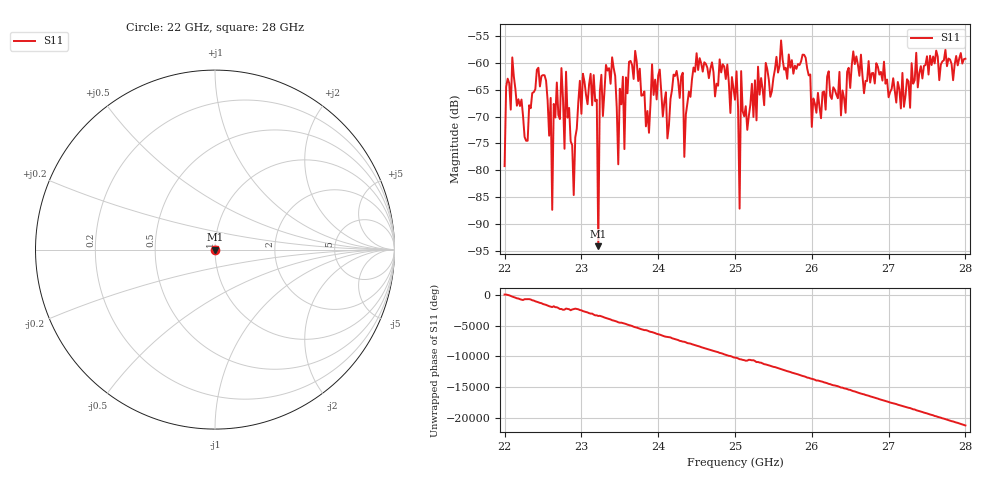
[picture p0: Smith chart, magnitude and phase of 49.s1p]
#  HZ  S  RI  R  50.00
! Rohde & Schwarz ZVA40 4Ports - Version 3.90 - 1145.1110k42 SN: 100403
! Date: 2023-10-04 11:26:36
! Measurement: S12
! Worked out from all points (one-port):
!   301 points, 22 GHz to 28 GHz, reference 50 ohm
!   lowest |S11| = -94.1 dB at 23.22 GHz (marker M1), VSWR 1.00, Z = 50 + j0.00112 ohm
!   |S11| at or under -10 dB: start of sweep to end of sweep
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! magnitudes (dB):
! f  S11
! 22 GHz  -79.2
! 22.1 GHz  -59.0
! 22.28 GHz  -74.5
! 22.52 GHz  -62.3
! 22.62 GHz  -87.3
! 22.76 GHz  -66.6
! 22.9 GHz  -84.6
! 23.16 GHz  -62.3
! 23.22 GHz  -94.1
! 23.26 GHz  -62.2
! 23.4 GHz  -59.0
! 23.48 GHz  -78.9
! 23.5 GHz  -64.8
! 23.56 GHz  -76.0
! 23.7 GHz  -57.8
! 23.88 GHz  -73.0
! 23.92 GHz  -60.3
! 24.26 GHz  -63.3
! 24.32 GHz  -61.8
! 24.34 GHz  -77.5
! 24.5 GHz  -58.2
! 25 GHz  -66.9
! 25.06 GHz  -87.1
! 25.08 GHz  -61.5
! 25.76 GHz  -62.0
! 26.5 GHz  -64.7
! 27.26 GHz  -63.5
! 28 GHz  -59.2
